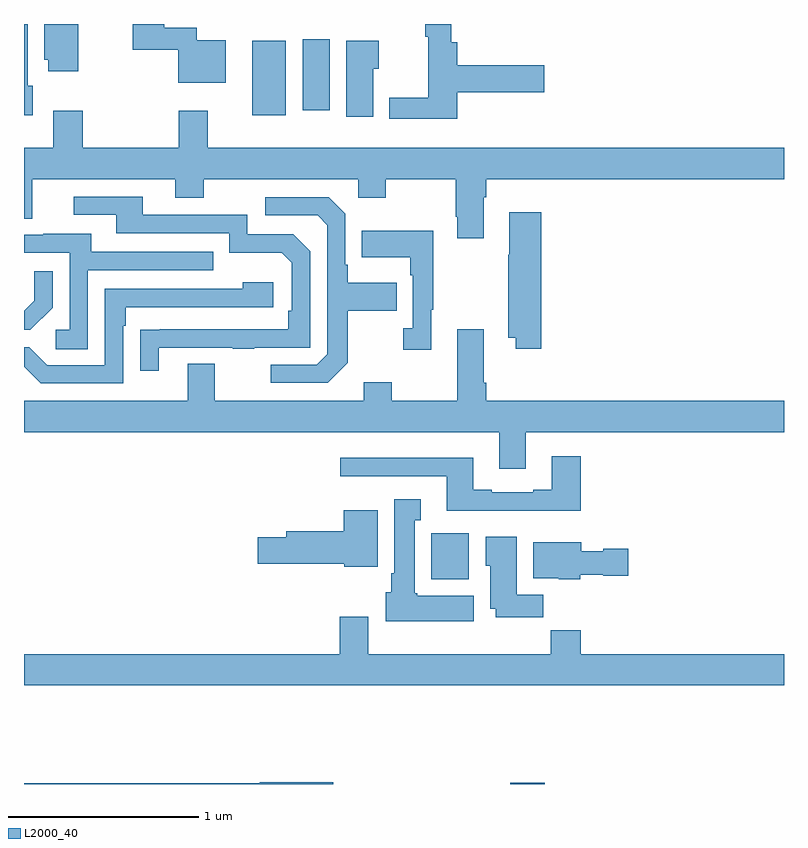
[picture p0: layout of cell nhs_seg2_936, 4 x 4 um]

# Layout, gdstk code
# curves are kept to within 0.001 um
import gdstk
lib = gdstk.Library(unit=1e-6, precision=1e-09)
def R(c, l, rs):  # rectangles x0, y0, x1, y1
    for r in rs: c.add(gdstk.rectangle(r[:2], r[2:], *l))
def P(c, l, *ps):  # polygons
    for p in ps: c.add(gdstk.Polygon(p, *l))
L2000_40 = (2000, 40)

nhs_seg2_936 = lib.new_cell('nhs_seg2_936')
R(nhs_seg2_936, L2000_40, [(161.558,629.8,161.741,629.806), (161.144,630.878,161.341,631.12), (160.202,633.32,160.378,633.712), (160.466,633.345,160.609,633.721)])
P(nhs_seg2_936, L2000_40, [(159.286,633.8),(159.107,633.8),(159.107,633.612),(159.128,633.612),(159.128,633.552),(159.286,633.552)],
  [(159.046,633.474),(159.019,633.474),(159.019,633.8),(159,633.8),(159,633.32),(159.046,633.32)],
  [(160.063,633.715),(159.909,633.715),(159.909,633.781),(159.738,633.781),(159.738,633.8),(159.572,633.8),(159.572,633.665),(159.813,633.665),(159.813,633.491),(160.063,633.491)],
  [(161.279,633.442),(161.737,633.442),(161.737,633.584),(161.279,633.584),(161.279,633.703),(161.249,633.703),(161.249,633.8),(161.113,633.8),(161.113,633.734),(161.128,633.734),(161.128,633.412),(160.923,633.412),(160.923,633.302),(161.279,633.302)],
  [(160.837,633.565),(160.867,633.565),(160.867,633.712),(160.697,633.712),(160.697,633.312),(160.837,633.312)],
  [(161.419,632.888),(161.432,632.888),(161.432,632.984),(163,632.984),(163,633.148),(159.967,633.148),(159.967,633.343),(159.815,633.343),(159.815,633.148),(159.308,633.148),(159.308,633.343),(159.155,633.343),(159.155,633.148),(159,633.148),(159,632.776),(159.043,632.776),(159.043,632.984),(159.797,632.984),(159.797,632.885),(159.945,632.885),(159.945,632.984),(160.758,632.984),(160.758,632.885),(160.905,632.885),(160.905,632.984),(161.272,632.984),(161.272,632.785),(161.279,632.785),(161.279,632.673),(161.419,632.673)],
  [(159.709,632.097),(160.099,632.097),(160.099,632.092),(160.211,632.092),(160.211,632.097),(160.506,632.097),(160.506,632.604),(160.416,632.694),(160.176,632.694),(160.176,632.796),(159.625,632.796),(159.625,632.892),(159.261,632.892),(159.261,632.796),(159.485,632.796),(159.485,632.7),(160.08,632.7),(160.08,632.597),(160.357,632.597),(160.41,632.544),(160.41,632.29),(160.39,632.29),(160.39,632.193),(159.613,632.192),(159.613,631.974),(159.709,631.974)],
  [(160.705,632.017),(160.705,632.29),(160.961,632.29),(160.961,632.437),(160.705,632.437),(160.705,632.533),(160.692,632.533),(160.692,632.802),(160.605,632.889),(160.269,632.889),(160.269,632.793),(160.545,632.793),(160.596,632.742),(160.596,632.061),(160.542,632.007),(160.299,632.007),(160.299,631.911),(160.599,631.911)],
  [(161.723,632.809),(161.555,632.809),(161.555,632.585),(161.548,632.585),(161.548,632.15),(161.588,632.15),(161.588,632.091),(161.723,632.091)],
  [(161.143,632.297),(161.155,632.297),(161.155,632.713),(160.777,632.713),(160.777,632.573),(161.034,632.573),(161.034,632.477),(161.046,632.477),(161.046,632.198),(160.995,632.198),(160.995,632.085),(161.143,632.085)],
  [(159.336,632.505),(159.995,632.505),(159.995,632.601),(159.355,632.601),(159.355,632.695),(159.101,632.695),(159.101,632.691),(159,632.691),(159,632.595),(159.24,632.595),(159.24,632.19),(159.168,632.19),(159.168,632.089),(159.336,632.089)],
  [(159.15,632.306),(159.15,632.5),(159.053,632.5),(159.053,632.343),(159,632.29),(159,632.19),(159.034,632.19)],
  [(159.522,632.213),(159.535,632.213),(159.535,632.31),(160.312,632.31),(160.312,632.44),(160.151,632.44),(160.151,632.406),(159.426,632.406),(159.426,632.004),(159.123,632.004),(159.027,632.1),(159,632.1),(159,631.995),(159.087,631.908),(159.522,631.908)],
  [(161.641,631.652),(163,631.652),(163,631.816),(161.432,631.816),(161.432,631.912),(161.419,631.912),(161.419,632.194),(161.279,632.194),(161.279,631.816),(160.935,631.816),(160.935,631.915),(160.787,631.915),(160.787,631.816),(160.003,631.816),(160.003,632.011),(159.863,632.011),(159.863,631.816),(159,631.816),(159,631.652),(161.501,631.652),(161.501,631.458),(161.641,631.458)],
  [(161.93,631.525),(161.777,631.525),(161.777,631.348),(161.681,631.348),(161.681,631.335),(161.461,631.335),(161.461,631.348),(161.365,631.348),(161.365,631.516),(160.665,631.516),(160.665,631.419),(161.225,631.419),(161.225,631.238),(161.93,631.238)],
  [(161.368,630.79),(161.07,630.79),(161.07,630.804),(161.056,630.804),(161.056,631.187),(161.089,631.187),(161.089,631.3),(160.949,631.3),(160.949,630.91),(160.934,630.91),(160.934,630.81),(160.904,630.81),(160.904,630.656),(161.368,630.656)],
  [(160.861,631.24),(160.682,631.24),(160.682,631.13),(160.379,631.13),(160.379,631.1),(160.23,631.1),(160.23,630.958),(160.686,630.958),(160.686,630.944),(160.861,630.944)],
  [(161.732,630.796),(161.593,630.796),(161.593,631.102),(161.429,631.102),(161.429,630.948),(161.453,630.948),(161.453,630.722),(161.483,630.722),(161.483,630.678),(161.732,630.678)],
  [(161.928,630.902),(162.048,630.902),(162.048,630.895),(162.181,630.895),(162.181,631.037),(162.048,631.037),(162.048,631.024),(161.932,631.024),(161.932,631.072),(161.681,631.072),(161.681,630.884),(161.814,630.884),(161.814,630.878),(161.928,630.878)],
  [(163,630.484),(161.93,630.484),(161.93,630.608),(161.773,630.608),(161.773,630.484),(160.813,630.484),(160.813,630.679),(160.661,630.679),(160.661,630.484),(159,630.484),(159,630.32),(163,630.32)],
  [(160.627,629.81),(160.242,629.81),(160.242,629.804),(159,629.804),(159,629.8),(160.627,629.8)])

lib.write_gds('nhs_seg2_936.gds')
